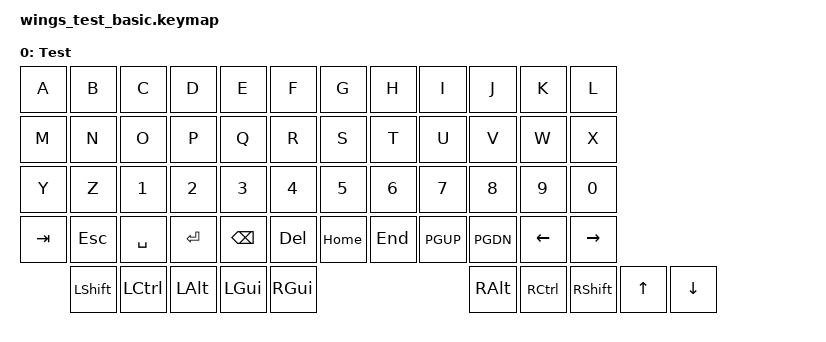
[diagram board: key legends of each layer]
/*
 * Basic test keymap - just letters for debugging
 */

#include <behaviors.dtsi>
#include <dt-bindings/zmk/keys.h>

/ {
    keymap {
        compatible = "zmk,keymap";

        default_layer {
            label = "Test";
            bindings = <
                &kp A  &kp B  &kp C  &kp D  &kp E  &kp F    &kp G  &kp H  &kp I  &kp J  &kp K  &kp L
                &kp M  &kp N  &kp O  &kp P  &kp Q  &kp R    &kp S  &kp T  &kp U  &kp V  &kp W  &kp X
                &kp Y  &kp Z  &kp N1 &kp N2 &kp N3 &kp N4   &kp N5 &kp N6 &kp N7 &kp N8 &kp N9 &kp N0
                &kp TAB &kp ESC &kp SPACE &kp ENTER &kp BSPC &kp DEL  &kp HOME &kp END &kp PGUP &kp PGDN &kp LEFT &kp RIGHT
                       &kp LSHFT &kp LCTRL &kp LALT &kp LGUI &kp RGUI  &kp RALT &kp RCTRL &kp RSHFT &kp UP &kp DOWN
            >;
        };
    };
};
